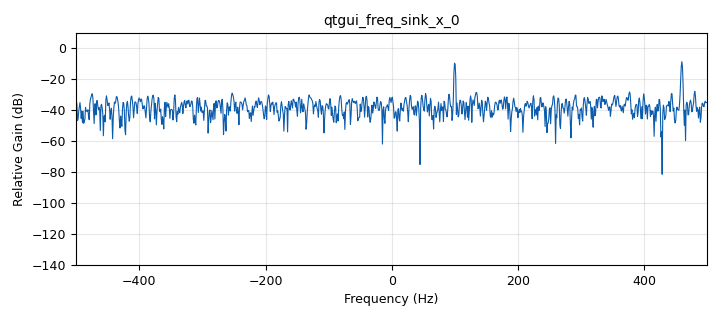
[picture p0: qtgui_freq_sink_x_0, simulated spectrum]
options:
  parameters:
    generate_options: qt_gui
    id: two_signals
    output_language: python
    title: Two signals
  states: {}

blocks:
- name: samp_rate
  id: variable
  parameters:
    value: 1e3
  states: {}
- name: analog_noise_source_x_0
  id: analog_noise_source_x
  parameters:
    amp: '1'
    noise_type: analog.GR_GAUSSIAN
    seed: '0'
    type: complex
  states: {}
- name: analog_sig_source_x_0
  id: analog_sig_source_x
  parameters:
    amp: '1'
    freq: int(0.46*samp_rate)
    offset: '0'
    phase: '0'
    samp_rate: samp_rate
    type: complex
    waveform: analog.GR_SIN_WAVE
  states: {}
- name: analog_sig_source_x_0_0
  id: analog_sig_source_x
  parameters:
    amp: '1'
    freq: int(0.1*samp_rate)
    offset: '0'
    phase: '0'
    samp_rate: samp_rate
    type: complex
    waveform: analog.GR_SIN_WAVE
  states: {}
- name: blocks_add_xx_0
  id: blocks_add_xx
  parameters:
    num_inputs: '3'
    type: complex
  states: {}
- name: blocks_file_sink_0
  id: blocks_file_sink
  parameters:
    file: D:\repos\hardware_fft\signals\two_signals\signal.out
    type: complex
  states: {}
- name: blocks_throttle2_0
  id: blocks_throttle2
  parameters:
    maximum: '1'
    samples_per_second: samp_rate
    type: complex
  states: {}
- name: qtgui_freq_sink_x_0
  id: qtgui_freq_sink_x
  parameters:
    bw: samp_rate
    fc: '0'
    fftsize: '1024'
    type: complex
  states: {}

connections:
- [analog_noise_source_x_0, '0', blocks_add_xx_0, '0']
- [analog_sig_source_x_0, '0', blocks_add_xx_0, '1']
- [analog_sig_source_x_0_0, '0', blocks_add_xx_0, '2']
- [blocks_add_xx_0, '0', blocks_throttle2_0, '0']
- [blocks_throttle2_0, '0', blocks_file_sink_0, '0']
- [blocks_throttle2_0, '0', qtgui_freq_sink_x_0, '0']

metadata:
  file_format: 1
  grc_version: 3.10.10.0
